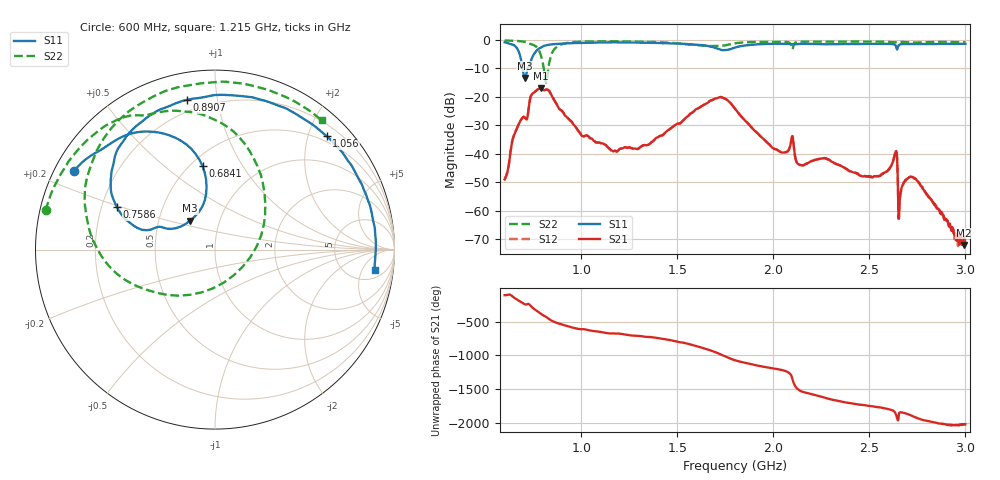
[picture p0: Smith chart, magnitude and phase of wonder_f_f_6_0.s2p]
#  HZ  S  RI  R  50.00
! Rohde & Schwarz ZVB8 2Ports - Version 2.81 - 1145.1010k08 SN: 100113
! Date: 2016-05-12 03:16:47
! Measurements: S11 S21 S12 S22
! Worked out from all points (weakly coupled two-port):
!   1000 points, 600 MHz to 3 GHz, reference 50 ohm
!   highest |S21| = -17.03 dB at 789.8 MHz (marker M1); lowest = -71.9 dB at 2.99 GHz (marker M2)
!   lowest |S11| = -13.4 dB at 705.7 MHz (marker M3), VSWR 1.54, Z = 36.1 + j12.2 ohm
!   |S11| at or under -10 dB: 693.7 MHz to 720.9 MHz (27.13 MHz wide, 3.84 % of centre)
!   |S22| runs from -15.0 to -0.3 dB; largest |S21 - S12| = 0.0016
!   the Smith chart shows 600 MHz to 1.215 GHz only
!   S11 on the Smith chart (normalised r, x): 600 MHz: 0.06, +0.26; 684.1 MHz: 0.57, +0.68; 758.6 MHz: 0.26, +0.19; 890.7 MHz: 0.14, +0.82; 1.056 GHz: 0.39, +2.33; 1.215 GHz: 8, -9
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6e8  -0.7865 0.4381  -0.00118 -0.00337  -0.00114 -0.00328  -0.9441 0.2185
6.840841e8  -0.0688 0.4643  -0.0346 0.018  -0.0347 0.018  -0.7132 0.6089
7.057057e8  -0.1387 0.1615  -0.0186 0.0388  -0.0182 0.039  -0.5914 0.7001
7.585586e8  -0.5461 0.2361  0.0973 0.0755  0.0973 0.0748  -0.1486 0.7677
7.897898e8  -0.5716 0.4557  0.1273 -0.06  0.1264 -0.0593  0.2369 0.4642
8.306306e8  -0.4412 0.6864  -0.0215 -0.1261  -0.0217 -0.1261  -0.2618 -0.2531
8.906907e8  -0.1554 0.8348  -0.059 -0.00594  -0.059 -0.00603  -0.715 0.3914
1.001201e9  0.3901 0.789  -0.00631 0.0197  -0.00639 0.0197  -0.2834 0.8808
1.056456e9  0.6219 0.6321  0.00241 0.018  0.00242 0.018  -0.0338 0.9297
1.215015e9  0.8888 -0.1109  0.0102 0.00723  0.0102 0.00719  0.5949 0.7197
1.4e9  0.3441 -0.8046  0.0178 -0.00834  0.0178 -0.00839  0.903 0.0585
1.697898e9  -0.6399 -0.3271  -0.056 0.0739  -0.0565 0.0738  0.4279 -0.643
1.801201e9  -0.7019 -0.196  0.0602 0.00835  0.0603 0.00837  0.2681 -0.8226
1.976577e9  -0.723 0.4402  -0.00291 -0.0145  -0.00298 -0.0145  -0.279 -0.8712
2.2e9  0.0215 0.845  -0.00514 -0.00547  -0.00514 -0.00543  -0.7407 -0.5563
2.423423e9  0.7548 0.3709  0.000408 0.00463  0.000355 0.00465  -0.9247 -0.0588
2.601201e9  0.7476 -0.389  0.00542 0.000536  0.00524 0.000496  -0.8483 0.337
2.632432e9  0.6322 -0.5187  0.00769 -0.00625  0.00756 -0.00622  -0.8128 0.3833
2.661261e9  0.6342 -0.5357  0.00151 -0.00125  0.00149 -0.00122  -0.7997 0.4475
2.733333e9  0.3892 -0.7476  -0.00109 -0.00353  -0.00104 -0.00368  -0.6927 0.5617
2.99039e9  -0.532 -0.6566  -0.000194 0.000163  -0.000265 0.000211  -0.2071 0.8804
3e9  -0.5537 -0.6375  -0.000217 0.000166  -0.000246 0.000104  -0.1824 0.8851
